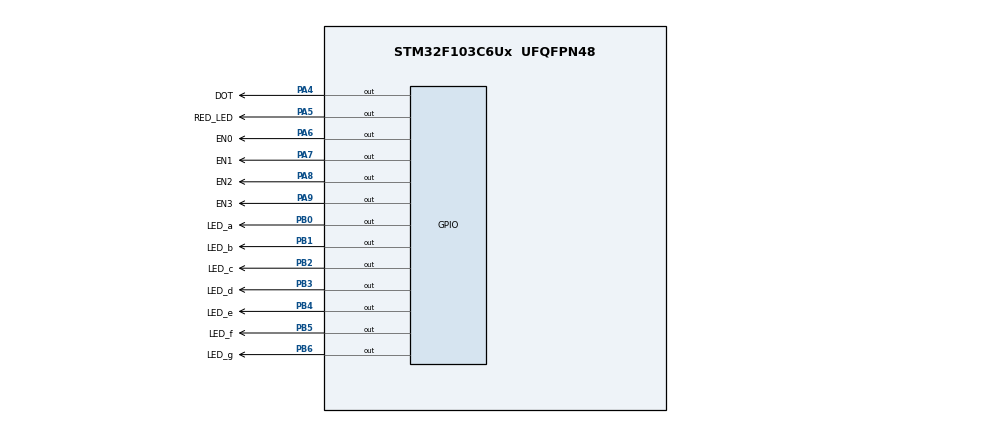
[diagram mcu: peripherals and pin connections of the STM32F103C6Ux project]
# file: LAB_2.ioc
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Mcu.Family=STM32F1
Mcu.Name=STM32F103C6Ux
Mcu.Package=UFQFPN48
NVIC.PriorityGroup=NVIC_PRIORITYGROUP_4
NVIC.TIM2_IRQn=true\:0\:0\:false\:false\:true\:true\:true
PA4.GPIO_Label=DOT
PA4.Signal=GPIO_Output
PA5.GPIO_Label=RED_LED
PA5.Signal=GPIO_Output
PA6.GPIO_Label=EN0
PA6.Signal=GPIO_Output
PA7.GPIO_Label=EN1
PA7.Signal=GPIO_Output
PA8.GPIO_Label=EN2
PA8.Signal=GPIO_Output
PA9.GPIO_Label=EN3
PA9.Signal=GPIO_Output
PB0.GPIO_Label=LED_a
PB0.Signal=GPIO_Output
PB1.GPIO_Label=LED_b
PB1.Signal=GPIO_Output
PB2.GPIO_Label=LED_c
PB2.Signal=GPIO_Output
PB3.GPIO_Label=LED_d
PB3.Signal=GPIO_Output
PB4.GPIO_Label=LED_e
PB4.Signal=GPIO_Output
PB5.GPIO_Label=LED_f
PB5.Signal=GPIO_Output
PB6.GPIO_Label=LED_g
PB6.Signal=GPIO_Output
ProjectManager.HeapSize=0x200
ProjectManager.StackSize=0x400
ProjectManager.TargetToolchain=STM32CubeIDE
RCC.APB1Freq_Value=8000000
RCC.APB2Freq_Value=8000000
TIM2.Period=9
TIM2.Prescaler=7999
VP_SYS_VS_ND.Mode=No_Debug
VP_TIM2_VS_ClockSourceINT.Mode=Internal
board=custom

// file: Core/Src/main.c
/* USER CODE BEGIN Header */
/**
  ******************************************************************************
  * @file           : main.c
  * @brief          : Main program body
  ******************************************************************************
  * @attention
  *
  * <h2><center>&copy; Copyright (c) 2025 STMicroelectronics.
  * All rights reserved.</center></h2>
  *
  * This software component is licensed by ST under BSD 3-Clause license,
  * the "License"; You may not use this file except in compliance with the
  * License. You may obtain a copy of the License at:
  *                        opensource.org/licenses/BSD-3-Clause
  *
  ******************************************************************************
  */
/* USER CODE END Header */
#include "main.h"

/* USER CODE BEGIN Includes */
#include "sw_timer.h"
/* USER CODE END Includes */

TIM_HandleTypeDef htim2;

void SystemClock_Config(void);
static void MX_GPIO_Init(void);
static void MX_TIM2_Init(void);

int main(void)
{

  /* MCU Configuration--------------------------------------------------------*/

  /* Reset of all peripherals, Initializes the Flash interface and the Systick. */
  HAL_Init();

  /* Configure the system clock */
  SystemClock_Config();

  /* Initialize all configured peripherals */
  MX_GPIO_Init();
  MX_TIM2_Init();
  /* USER CODE BEGIN 2 */
  HAL_TIM_Base_Start_IT (& htim2 ) ;
  void display7SEG (int num) {
     	  // SET = turn off, RESET = turn on
     	  switch (num) {
     	  	case 0:
     	  		 HAL_GPIO_WritePin(LED_g_GPIO_Port, LED_g_Pin, GPIO_PIN_SET); // turn off g and turn on the others
     	  		 HAL_GPIO_WritePin(LED_a_GPIO_Port, LED_a_Pin, GPIO_PIN_RESET);
     	  		 HAL_GPIO_WritePin(LED_b_GPIO_Port, LED_b_Pin, GPIO_PIN_RESET);
     	  		 HAL_GPIO_WritePin(LED_c_GPIO_Port, LED_c_Pin, GPIO_PIN_RESET);
     	  		 HAL_GPIO_WritePin(LED_d_GPIO_Port, LED_d_Pin, GPIO_PIN_RESET);
     	  		 HAL_GPIO_WritePin(LED_e_GPIO_Port, LED_e_Pin, GPIO_PIN_RESET);
     	  		 HAL_GPIO_WritePin(LED_f_GPIO_Port, LED_f_Pin, GPIO_PIN_RESET);
     	  		 break;
     	  	case 1:
     	  			HAL_GPIO_WritePin(LED_a_GPIO_Port, LED_a_Pin, GPIO_PIN_SET);
     	  			HAL_GPIO_WritePin(LED_f_GPIO_Port, LED_f_Pin, GPIO_PIN_SET);
     	  			HAL_GPIO_WritePin(LED_e_GPIO_Port, LED_e_Pin, GPIO_PIN_SET);
     	  			HAL_GPIO_WritePin(LED_d_GPIO_Port, LED_d_Pin, GPIO_PIN_SET);
     	  			HAL_GPIO_WritePin(LED_g_GPIO_Port, LED_g_Pin, GPIO_PIN_SET);
     	  			HAL_GPIO_WritePin(LED_b_GPIO_Port, LED_b_Pin, GPIO_PIN_RESET);
     	  			HAL_GPIO_WritePin(LED_c_GPIO_Port, LED_c_Pin, GPIO_PIN_RESET);
     	  			break;
     	  	case 2:
     	  			HAL_GPIO_WritePin(LED_f_GPIO_Port, LED_f_Pin, GPIO_PIN_SET);
     	  			HAL_GPIO_WritePin(LED_c_GPIO_Port, LED_c_Pin, GPIO_PIN_SET);
     	  			HAL_GPIO_WritePin(LED_a_GPIO_Port, LED_a_Pin, GPIO_PIN_RESET);
     	  			HAL_GPIO_WritePin(LED_b_GPIO_Port, LED_b_Pin, GPIO_PIN_RESET);
     	  			HAL_GPIO_WritePin(LED_g_GPIO_Port, LED_g_Pin, GPIO_PIN_RESET);
     	  			HAL_GPIO_WritePin(LED_e_GPIO_Port, LED_e_Pin, GPIO_PIN_RESET);
     	  			HAL_GPIO_WritePin(LED_d_GPIO_Port, LED_d_Pin, GPIO_PIN_RESET);
     	  			break;
     	  	case 3:
     	  		//turn off e led and turn on c led
     	  		HAL_GPIO_WritePin(LED_e_GPIO_Port, LED_e_Pin, GPIO_PIN_SET);
     	  		HAL_GPIO_WritePin(LED_c_GPIO_Port, LED_c_Pin, GPIO_PIN_RESET);
     	  		break;
     	  	case 4:
     	  		//turn off a_led and d_led, turn on f_led
     	  		HAL_GPIO_WritePin(LED_f_GPIO_Port, LED_f_Pin, GPIO_PIN_RESET);
     	  		HAL_GPIO_WritePin(LED_a_GPIO_Port, LED_a_Pin, GPIO_PIN_SET);
     	  		HAL_GPIO_WritePin(LED_d_GPIO_Port, LED_d_Pin, GPIO_PIN_SET);
     	  		break;
     	  	case 5:
     	  		//turn off b led and turn on a, d led
     	  		HAL_GPIO_WritePin(LED_a_GPIO_Port, LED_a_Pin, GPIO_PIN_RESET);
     	  		HAL_GPIO_WritePin(LED_d_GPIO_Port, LED_d_Pin, GPIO_PIN_RESET);
     	  		HAL_GPIO_WritePin(LED_b_GPIO_Port, LED_b_Pin, GPIO_PIN_SET);
     	  		break;
     	  	case 6:
     	  		// turn on e led
     	  		HAL_GPIO_WritePin(LED_e_GPIO_Port, LED_e_Pin, GPIO_PIN_RESET);
     	  		break;
     	  	case 7:
     	  		//turn off d,e,f,g led and turn on b led
     	  		HAL_GPIO_WritePin(LED_d_GPIO_Port, LED_d_Pin, GPIO_PIN_SET);
     	  		HAL_GPIO_WritePin(LED_e_GPIO_Port, LED_e_Pin, GPIO_PIN_SET);
     	  		HAL_GPIO_WritePin(LED_f_GPIO_Port, LED_f_Pin, GPIO_PIN_SET);
     	  		HAL_GPIO_WritePin(LED_g_GPIO_Port, LED_g_Pin, GPIO_PIN_SET);
     	  		HAL_GPIO_WritePin(LED_b_GPIO_Port, LED_b_Pin, GPIO_PIN_RESET);
     	  		break;
     	  	case 8:
     	  		//turn on d,e,f,g for turning full led
     	  		HAL_GPIO_WritePin(LED_d_GPIO_Port, LED_d_Pin, GPIO_PIN_RESET);
     	  		HAL_GPIO_WritePin(LED_e_GPIO_Port, LED_e_Pin, GPIO_PIN_RESET);
     	  		HAL_GPIO_WritePin(LED_f_GPIO_Port, LED_f_Pin, GPIO_PIN_RESET);
     	  		HAL_GPIO_WritePin(LED_g_GPIO_Port, LED_g_Pin, GPIO_PIN_RESET);
     	  		break;
     	  	case 9:
     	  		//turn off e led
     	  		HAL_GPIO_WritePin(LED_e_GPIO_Port, LED_e_Pin, GPIO_PIN_SET);
     	  		break;
     	  }
  }
  /* USER CODE END 2 */

  /* Infinite loop */
  /* USER CODE BEGIN WHILE */
  setTimer1(50);
  setTimer2(50);
  int led_idx = 1;

  while (1)
  {
	  if (timer2_flag == 1) {
	      setTimer2(100);
	      timer2_flag = 0;
	      HAL_GPIO_TogglePin(DOT_GPIO_Port,DOT_Pin);
	  }

	  if (timer1_flag == 1) {
	  setTimer1(50);
	  timer1_flag = 0;
	  //TODO

	  switch (led_idx) {
	         case 1:
	             // LED 1 hiển thị số 1
	             display7SEG(1);
	             HAL_GPIO_WritePin(EN0_GPIO_Port, EN0_Pin, RESET);
	             HAL_GPIO_WritePin(EN1_GPIO_Port, EN1_Pin, SET);
	             HAL_GPIO_WritePin(EN2_GPIO_Port, EN2_Pin, SET);
	             HAL_GPIO_WritePin(EN3_GPIO_Port, EN3_Pin, SET);
	             break;

	         case 2:
	             // LED 2 hiển thị số 2
	             display7SEG(2);
	             HAL_GPIO_WritePin(EN0_GPIO_Port, EN0_Pin, SET);
	             HAL_GPIO_WritePin(EN1_GPIO_Port, EN1_Pin, RESET);
	             HAL_GPIO_WritePin(EN2_GPIO_Port, EN2_Pin, SET);
	             HAL_GPIO_WritePin(EN3_GPIO_Port, EN3_Pin, SET);
	             break;

	         case 3:
	             // LED 3 hiển thị số 3
	             display7SEG(3);
	             HAL_GPIO_WritePin(EN0_GPIO_Port, EN0_Pin, SET);
	             HAL_GPIO_WritePin(EN1_GPIO_Port, EN1_Pin, SET);
	             HAL_GPIO_WritePin(EN2_GPIO_Port, EN2_Pin, RESET);
	             HAL_GPIO_WritePin(EN3_GPIO_Port, EN3_Pin, SET);
	             break;

	         case 4:
	             // LED 4 hiển thị số 0
	             display7SEG(0);
	             HAL_GPIO_WritePin(EN0_GPIO_Port, EN0_Pin, SET);
	             HAL_GPIO_WritePin(EN1_GPIO_Port, EN1_Pin, SET);
	             HAL_GPIO_WritePin(EN2_GPIO_Port, EN2_Pin, SET);
	             HAL_GPIO_WritePin(EN3_GPIO_Port, EN3_Pin, RESET);
	             break;
	         }

	  led_idx++;
	  if (led_idx > 4) led_idx = 1;
	  }
    /* USER CODE END WHILE */

  }
}

void SystemClock_Config(void)
{
  RCC_OscInitTypeDef RCC_OscInitStruct = {0};
  RCC_ClkInitTypeDef RCC_ClkInitStruct = {0};

  /** Initializes the RCC Oscillators according to the specified parameters
  * in the RCC_OscInitTypeDef structure.
  */
  RCC_OscInitStruct.OscillatorType = RCC_OSCILLATORTYPE_HSI;
  RCC_OscInitStruct.HSIState = RCC_HSI_ON;
  RCC_OscInitStruct.HSICalibrationValue = RCC_HSICALIBRATION_DEFAULT;
  RCC_OscInitStruct.PLL.PLLState = RCC_PLL_NONE;
  if (HAL_RCC_OscConfig(&RCC_OscInitStruct) != HAL_OK)
  {
    Error_Handler();
  }
  /** Initializes the CPU, AHB and APB buses clocks
  */
  RCC_ClkInitStruct.ClockType = RCC_CLOCKTYPE_HCLK|RCC_CLOCKTYPE_SYSCLK
                              |RCC_CLOCKTYPE_PCLK1|RCC_CLOCKTYPE_PCLK2;
  RCC_ClkInitStruct.SYSCLKSource = RCC_SYSCLKSOURCE_HSI;
  RCC_ClkInitStruct.AHBCLKDivider = RCC_SYSCLK_DIV1;
  RCC_ClkInitStruct.APB1CLKDivider = RCC_HCLK_DIV1;
  RCC_ClkInitStruct.APB2CLKDivider = RCC_HCLK_DIV1;

  if (HAL_RCC_ClockConfig(&RCC_ClkInitStruct, FLASH_LATENCY_0) != HAL_OK)
  {
    Error_Handler();
  }
}

static void MX_TIM2_Init(void)
{

  TIM_ClockConfigTypeDef sClockSourceConfig = {0};
  TIM_MasterConfigTypeDef sMasterConfig = {0};

  htim2.Instance = TIM2;
  htim2.Init.Prescaler = 7999;
  htim2.Init.CounterMode = TIM_COUNTERMODE_UP;
  htim2.Init.Period = 9;
  htim2.Init.ClockDivision = TIM_CLOCKDIVISION_DIV1;
  htim2.Init.AutoReloadPreload = TIM_AUTORELOAD_PRELOAD_DISABLE;
  if (HAL_TIM_Base_Init(&htim2) != HAL_OK)
  {
    Error_Handler();
  }
  sClockSourceConfig.ClockSource = TIM_CLOCKSOURCE_INTERNAL;
  if (HAL_TIM_ConfigClockSource(&htim2, &sClockSourceConfig) != HAL_OK)
  {
    Error_Handler();
  }
  sMasterConfig.MasterOutputTrigger = TIM_TRGO_RESET;
  sMasterConfig.MasterSlaveMode = TIM_MASTERSLAVEMODE_DISABLE;
  if (HAL_TIMEx_MasterConfigSynchronization(&htim2, &sMasterConfig) != HAL_OK)
  {
    Error_Handler();
  }

}

static void MX_GPIO_Init(void)
{
  GPIO_InitTypeDef GPIO_InitStruct = {0};

  /* GPIO Ports Clock Enable */
  __HAL_RCC_GPIOA_CLK_ENABLE();
  __HAL_RCC_GPIOB_CLK_ENABLE();

  /*Configure GPIO pin Output Level */
  HAL_GPIO_WritePin(GPIOA, DOT_Pin|RED_LED_Pin|EN0_Pin|EN1_Pin
                          |EN2_Pin|EN3_Pin, GPIO_PIN_RESET);

  /*Configure GPIO pin Output Level */
  HAL_GPIO_WritePin(GPIOB, LED_a_Pin|LED_b_Pin|LED_c_Pin|LED_d_Pin
                          |LED_e_Pin|LED_f_Pin|LED_g_Pin, GPIO_PIN_RESET);

  /*Configure GPIO pins : DOT_Pin RED_LED_Pin EN0_Pin EN1_Pin
                           EN2_Pin EN3_Pin */
  GPIO_InitStruct.Pin = DOT_Pin|RED_LED_Pin|EN0_Pin|EN1_Pin
                          |EN2_Pin|EN3_Pin;
  GPIO_InitStruct.Mode = GPIO_MODE_OUTPUT_PP;
  GPIO_InitStruct.Pull = GPIO_NOPULL;
  GPIO_InitStruct.Speed = GPIO_SPEED_FREQ_LOW;
  HAL_GPIO_Init(GPIOA, &GPIO_InitStruct);

  /*Configure GPIO pins : LED_a_Pin LED_b_Pin LED_c_Pin LED_d_Pin
                           LED_e_Pin LED_f_Pin LED_g_Pin */
  GPIO_InitStruct.Pin = LED_a_Pin|LED_b_Pin|LED_c_Pin|LED_d_Pin
                          |LED_e_Pin|LED_f_Pin|LED_g_Pin;
  GPIO_InitStruct.Mode = GPIO_MODE_OUTPUT_PP;
  GPIO_InitStruct.Pull = GPIO_NOPULL;
  GPIO_InitStruct.Speed = GPIO_SPEED_FREQ_LOW;
  HAL_GPIO_Init(GPIOB, &GPIO_InitStruct);

}

/* USER CODE BEGIN 4 */
void HAL_TIM_PeriodElapsedCallback ( TIM_HandleTypeDef * htim ){
	timerRun();
}
/* USER CODE END 4 */

void Error_Handler(void)
{
  __disable_irq();
  while (1)
  {
  }
}

/************************ (C) COPYRIGHT STMicroelectronics *****END OF FILE****/
